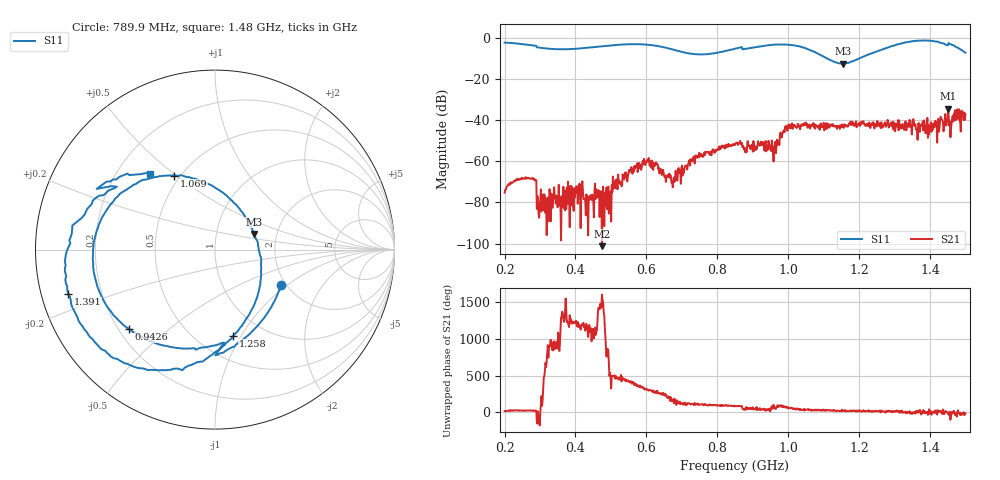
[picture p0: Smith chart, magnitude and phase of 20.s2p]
! NanoVNA-App
! Date: 2024-06-25 16:53:35
! Start: 200MHz Stop: 1.5GHz Points: 801
! S-Parameter data: F S11 S21 S12 S22
# Hz S RI R 50
!  Frequency  S11_Real  S11_Imag  S21_Real  S21_Imag  S12_Real  S12_Imag  S22_Real  S22_Imag
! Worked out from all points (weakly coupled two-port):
!   801 points, 200 MHz to 1.5 GHz, reference 50 ohm
!   highest |S21| = -34.49 dB at 1.451 GHz (marker M1); lowest = -101.3 dB at 474.6 MHz (marker M2)
!   lowest |S11| = -12.6 dB at 1.154 GHz (marker M3), VSWR 1.61, Z = 76.3 + j14 ohm
!   |S11| at or under -10 dB: 1.109 GHz to 1.201 GHz (92.24 MHz wide, 7.98 % of centre)
!   S12 and S22 are empty: the file has one direction only
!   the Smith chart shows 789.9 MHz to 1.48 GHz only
!   S11 on the Smith chart (normalised r, x): 789.9 MHz: 1.89, -0.89; 942.6 MHz: 0.24, -0.37; 1.069 GHz: 0.47, +0.49; 1.258 GHz: 0.73, -0.93; 1.391 GHz: 0.08, -0.15; 1.48 GHz: 0.34, +0.42
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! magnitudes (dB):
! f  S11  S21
! 200 MHz  -2.4  -75.3
! 261.8 MHz  -3.4  -68.3
! 282.9 MHz  -3.8  -68.5
! 300.8 MHz  -4.9  -79.0
! 417.8 MHz  -5.1  -71.8
! 474.6 MHz  -4.2  -101.3
! 594.9 MHz  -3.3  -59.9
! 633.9 MHz  -4.1  -63.9
! 674.5 MHz  -5.7  -72.7
! 789.9 MHz  -7.6  -55.0
! 850 MHz  -5.4  -52.1
! 942.6 MHz  -3.7  -54.5
! 997.9 MHz  -3.4  -45.2
! 1.068 GHz  -6.4  -42.7
! 1.069 GHz  -6.6  -41.9
! 1.154 GHz  -12.6  -43.3
! 1.258 GHz  -6.2  -41.8
! 1.284 GHz  -4.6  -43.6
! 1.391 GHz  -1.4  -43.0
! 1.451 GHz  -3.4  -34.5
! 1.48 GHz  -5.1  -36.1
! 1.5 GHz  -7.2  -37.2
